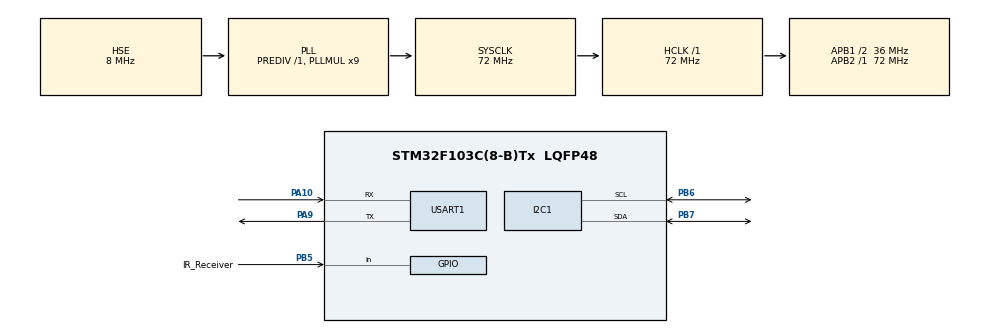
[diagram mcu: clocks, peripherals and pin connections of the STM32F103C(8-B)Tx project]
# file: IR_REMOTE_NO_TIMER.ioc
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Mcu.Family=STM32F1
Mcu.Name=STM32F103C(8-B)Tx
Mcu.Package=LQFP48
NVIC.PriorityGroup=NVIC_PRIORITYGROUP_4
PA10.Mode=Asynchronous
PA10.Signal=USART1_RX
PA13.Mode=Serial_Wire
PA13.Signal=SYS_JTMS-SWDIO
PA14.Mode=Serial_Wire
PA14.Signal=SYS_JTCK-SWCLK
PA9.Mode=Asynchronous
PA9.Signal=USART1_TX
PB5.GPIO_Label=IR_Receiver
PB5.Signal=GPIO_Input
PB6.GPIO_Pu=GPIO_PULLUP
PB6.Mode=I2C
PB6.Signal=I2C1_SCL
PB7.GPIO_Pu=GPIO_PULLUP
PB7.Mode=I2C
PB7.Signal=I2C1_SDA
PD0-OSC_IN.Mode=HSE-External-Oscillator
PD0-OSC_IN.Signal=RCC_OSC_IN
PD1-OSC_OUT.Mode=HSE-External-Oscillator
PD1-OSC_OUT.Signal=RCC_OSC_OUT
ProjectManager.HeapSize=0x200
ProjectManager.StackSize=0x400
ProjectManager.TargetToolchain=STM32CubeIDE
RCC.AHBFreq_Value=72000000
RCC.APB1CLKDivider=RCC_HCLK_DIV2
RCC.APB1Freq_Value=36000000
RCC.APB1TimFreq_Value=72000000
RCC.APB2Freq_Value=72000000
RCC.APB2TimFreq_Value=72000000
RCC.HCLKFreq_Value=72000000
RCC.PLLMUL=RCC_PLL_MUL9
RCC.PLLSourceVirtual=RCC_PLLSOURCE_HSE
RCC.SYSCLKFreq_VALUE=72000000
RCC.SYSCLKSource=RCC_SYSCLKSOURCE_PLLCLK
RCC.USBFreq_Value=72000000
USART1.VirtualMode=VM_ASYNC
board=custom

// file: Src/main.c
/* USER CODE BEGIN Header */
/**
  ******************************************************************************
  * @file           : main.c
  * @brief          : Main program body
  ******************************************************************************
  ** This notice applies to any and all portions of this file
  * that are not between comment pairs USER CODE BEGIN and
  * USER CODE END. Other portions of this file, whether
  * inserted by the user or by software development tools
  * are owned by their respective copyright owners.
  *
  * COPYRIGHT(c) 2019 STMicroelectronics
  *
  * Redistribution and use in source and binary forms, with or without modification,
  * are permitted provided that the following conditions are met:
  *   1. Redistributions of source code must retain the above copyright notice,
  *      this list of conditions and the following disclaimer.
  *   2. Redistributions in binary form must reproduce the above copyright notice,
  *      this list of conditions and the following disclaimer in the documentation
  *      and/or other materials provided with the distribution.
  *   3. Neither the name of STMicroelectronics nor the names of its contributors
  *      may be used to endorse or promote products derived from this software
  *      without specific prior written permission.
  *
  * THIS SOFTWARE IS PROVIDED BY THE COPYRIGHT HOLDERS AND CONTRIBUTORS "AS IS"
  * AND ANY EXPRESS OR IMPLIED WARRANTIES, INCLUDING, BUT NOT LIMITED TO, THE
  * IMPLIED WARRANTIES OF MERCHANTABILITY AND FITNESS FOR A PARTICULAR PURPOSE ARE
  * DISCLAIMED. IN NO EVENT SHALL THE COPYRIGHT HOLDER OR CONTRIBUTORS BE LIABLE
  * FOR ANY DIRECT, INDIRECT, INCIDENTAL, SPECIAL, EXEMPLARY, OR CONSEQUENTIAL
  * DAMAGES (INCLUDING, BUT NOT LIMITED TO, PROCUREMENT OF SUBSTITUTE GOODS OR
  * SERVICES; LOSS OF USE, DATA, OR PROFITS; OR BUSINESS INTERRUPTION) HOWEVER
  * CAUSED AND ON ANY THEORY OF LIABILITY, WHETHER IN CONTRACT, STRICT LIABILITY,
  * OR TORT (INCLUDING NEGLIGENCE OR OTHERWISE) ARISING IN ANY WAY OUT OF THE USE
  * OF THIS SOFTWARE, EVEN IF ADVISED OF THE POSSIBILITY OF SUCH DAMAGE.
  *
  ******************************************************************************
  */
/* USER CODE END Header */
#include "main.h"

/* USER CODE BEGIN Includes */
#include <stdio.h>
#include "dwt_stm32_delay.h"
/* USER CODE END Includes */

I2C_HandleTypeDef hi2c1;

UART_HandleTypeDef huart1;

void SystemClock_Config(void);
static void MX_GPIO_Init(void);
static void MX_I2C1_Init(void);
static void MX_USART1_UART_Init(void);

/* USER CODE BEGIN 0 */

uint32_t data;
uint8_t count;

uint32_t receive_data (void)
{
	uint32_t code=0;

		  /* The START Sequence begin here
	   * there will be a pulse of 9ms LOW and
	   * than 4.5 ms space (HIGH)
	   */
	  while (!(HAL_GPIO_ReadPin (GPIOB, GPIO_PIN_5)));  // wait for the pin to go high.. 9ms LOW

	  while ((HAL_GPIO_ReadPin (GPIOB, GPIO_PIN_5)));  // wait for the pin to go low.. 4.5ms HIGH

	  /* START of FRAME ends here*/

	  /* DATA Reception
	   * We are only going to check the SPACE after 562.5us pulse
	   * if the space is 562.5us, the bit indicates '0'
	   * if the space is around 1.6ms, the bit is '1'
	   */

	  for (int i=0; i<32; i++)
	  {
		  count=0;

		  while (!(HAL_GPIO_ReadPin (GPIOB, GPIO_PIN_5))); // wait for pin to go high.. this is 562.5us LOW

		  while ((HAL_GPIO_ReadPin (GPIOB, GPIO_PIN_5)))  // count the space length while the pin is high
		  {
			  count++;
			  DWT_Delay_us(100);
		  }

		  if (count > 12) // if the space is more than 1.2 ms
		  {
			  code |= (1UL << (31-i));   // write 1
		  }

		  else code &= ~(1UL << (31-i));  // write 0
	  }

		return code;
}

/* USER CODE END 0 */

int main(void)
{

  /* MCU Configuration--------------------------------------------------------*/

  /* Reset of all peripherals, Initializes the Flash interface and the Systick. */
  HAL_Init();

  /* Configure the system clock */
  SystemClock_Config();

  /* Initialize all configured peripherals */
  MX_GPIO_Init();
  MX_I2C1_Init();
  MX_USART1_UART_Init();
  /* USER CODE BEGIN 2 */

	DWT_Delay_Init ();

//	HAL_UART_Transmit(&huart1, uart_tx, sizeof(uart_tx), 100);
  /* USER CODE END 2 */

  /* Infinite loop */
  while (1)
  {

    /* USER CODE BEGIN 3 */

	  while (HAL_GPIO_ReadPin (GPIOB, GPIO_PIN_5));   // wait for the pin to go low

		data = receive_data ();

		uint8_t uart_tx[8] = {0};// = "UART OK \r\n";
		sprintf(uart_tx, "%p", data);
		HAL_UART_Transmit(&huart1, uart_tx, sizeof(uart_tx), 100);

		uint8_t uart_tx_new[] = "\r\n";
		HAL_UART_Transmit(&huart1, uart_tx_new, sizeof(uart_tx_new), 100);

//		convert_code (data);

		HAL_Delay (200);

  }
  /* USER CODE END 3 */
}

void SystemClock_Config(void)
{
  RCC_OscInitTypeDef RCC_OscInitStruct = {0};
  RCC_ClkInitTypeDef RCC_ClkInitStruct = {0};

  /** Initializes the RCC Oscillators according to the specified parameters
  * in the RCC_OscInitTypeDef structure.
  */
  RCC_OscInitStruct.OscillatorType = RCC_OSCILLATORTYPE_HSE;
  RCC_OscInitStruct.HSEState = RCC_HSE_ON;
  RCC_OscInitStruct.HSEPredivValue = RCC_HSE_PREDIV_DIV1;
  RCC_OscInitStruct.HSIState = RCC_HSI_ON;
  RCC_OscInitStruct.PLL.PLLState = RCC_PLL_ON;
  RCC_OscInitStruct.PLL.PLLSource = RCC_PLLSOURCE_HSE;
  RCC_OscInitStruct.PLL.PLLMUL = RCC_PLL_MUL9;
  if (HAL_RCC_OscConfig(&RCC_OscInitStruct) != HAL_OK)
  {
    Error_Handler();
  }
  /** Initializes the CPU, AHB and APB buses clocks
  */
  RCC_ClkInitStruct.ClockType = RCC_CLOCKTYPE_HCLK|RCC_CLOCKTYPE_SYSCLK
                              |RCC_CLOCKTYPE_PCLK1|RCC_CLOCKTYPE_PCLK2;
  RCC_ClkInitStruct.SYSCLKSource = RCC_SYSCLKSOURCE_PLLCLK;
  RCC_ClkInitStruct.AHBCLKDivider = RCC_SYSCLK_DIV1;
  RCC_ClkInitStruct.APB1CLKDivider = RCC_HCLK_DIV2;
  RCC_ClkInitStruct.APB2CLKDivider = RCC_HCLK_DIV1;

  if (HAL_RCC_ClockConfig(&RCC_ClkInitStruct, FLASH_LATENCY_2) != HAL_OK)
  {
    Error_Handler();
  }
}

static void MX_I2C1_Init(void)
{

  hi2c1.Instance = I2C1;
  hi2c1.Init.ClockSpeed = 100000;
  hi2c1.Init.DutyCycle = I2C_DUTYCYCLE_2;
  hi2c1.Init.OwnAddress1 = 0;
  hi2c1.Init.AddressingMode = I2C_ADDRESSINGMODE_7BIT;
  hi2c1.Init.DualAddressMode = I2C_DUALADDRESS_DISABLE;
  hi2c1.Init.OwnAddress2 = 0;
  hi2c1.Init.GeneralCallMode = I2C_GENERALCALL_DISABLE;
  hi2c1.Init.NoStretchMode = I2C_NOSTRETCH_DISABLE;
  if (HAL_I2C_Init(&hi2c1) != HAL_OK)
  {
    Error_Handler();
  }

}

static void MX_USART1_UART_Init(void)
{

  huart1.Instance = USART1;
  huart1.Init.BaudRate = 115200;
  huart1.Init.WordLength = UART_WORDLENGTH_8B;
  huart1.Init.StopBits = UART_STOPBITS_1;
  huart1.Init.Parity = UART_PARITY_NONE;
  huart1.Init.Mode = UART_MODE_TX_RX;
  huart1.Init.HwFlowCtl = UART_HWCONTROL_NONE;
  huart1.Init.OverSampling = UART_OVERSAMPLING_16;
  if (HAL_UART_Init(&huart1) != HAL_OK)
  {
    Error_Handler();
  }

}

static void MX_GPIO_Init(void)
{
  GPIO_InitTypeDef GPIO_InitStruct = {0};

  /* GPIO Ports Clock Enable */
  __HAL_RCC_GPIOD_CLK_ENABLE();
  __HAL_RCC_GPIOA_CLK_ENABLE();
  __HAL_RCC_GPIOB_CLK_ENABLE();

  /*Configure GPIO pin : IR_Receiver_Pin */
  GPIO_InitStruct.Pin = IR_Receiver_Pin;
  GPIO_InitStruct.Mode = GPIO_MODE_INPUT;
  GPIO_InitStruct.Pull = GPIO_NOPULL;
  HAL_GPIO_Init(IR_Receiver_GPIO_Port, &GPIO_InitStruct);

}

void Error_Handler(void)
{
}
